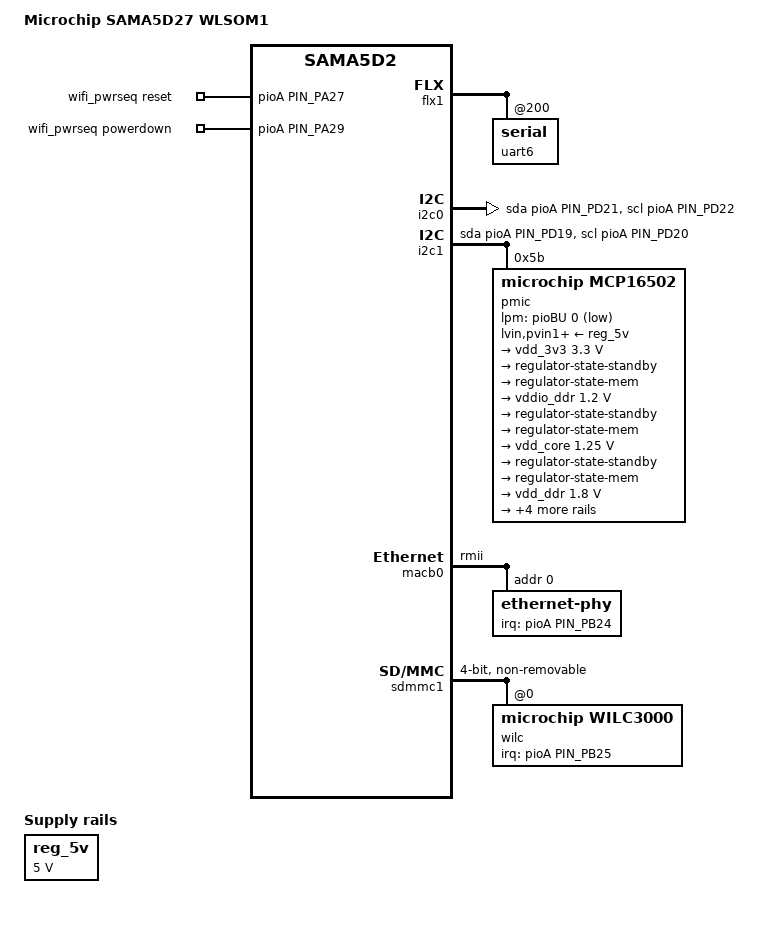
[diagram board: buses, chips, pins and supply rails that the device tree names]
// SPDX-License-Identifier: (GPL-2.0+ OR MIT)
/*
 * at91-sama5d27_wlsom1.dtsi - Device Tree file for SAMA5D27 WLSOM1
 *
 * Copyright (C) 2019 Microchip Technology Inc. and its subsidiaries
 *
 * Author: Nicolas Ferre <nicolas.ferre@microcihp.com>
 * Author: Eugen Hristev <eugen.hristev@microcihp.com>
 */
#include "sama5d2.dtsi"
#include "sama5d2-pinfunc.h"
#include <dt-bindings/gpio/gpio.h>
#include <dt-bindings/mfd/atmel-flexcom.h>
#include <dt-bindings/pinctrl/at91.h>

/ {
	model = "Microchip SAMA5D27 WLSOM1";
	compatible = "microchip,sama5d27-wlsom1", "atmel,sama5d27", "atmel,sama5d2", "atmel,sama5";

	aliases {
		i2c0 = &i2c0;
	};

	clocks {
		slow_xtal {
			clock-frequency = <32768>;
		};

		main_xtal {
			clock-frequency = <24000000>;
		};
	};

	reg_5v: regulator-5v {
		compatible = "regulator-fixed";
		regulator-name = "VDD_MAIN";
		regulator-min-microvolt = <5000000>;
		regulator-max-microvolt = <5000000>;
		regulator-always-on;
	};

	wifi_pwrseq: wifi_pwrseq {
		compatible = "mmc-pwrseq-wilc1000";
		reset-gpios = <&pioA PIN_PA27 GPIO_ACTIVE_HIGH>;
		powerdown-gpios = <&pioA PIN_PA29 GPIO_ACTIVE_HIGH>;
		pinctrl-0 = <&pinctrl_wilc_pwrseq>;
		pinctrl-names = "default";
	};
};

&flx1 {
	atmel,flexcom-mode = <ATMEL_FLEXCOM_MODE_USART>;

	uart6: serial@200 {
		pinctrl-0 = <&pinctrl_flx1_default>;
		pinctrl-names = "default";
	};
};

&i2c0 {
	pinctrl-0 = <&pinctrl_i2c0_default>;
	pinctrl-1 = <&pinctrl_i2c0_gpio>;
	pinctrl-names = "default", "gpio";
	sda-gpios = <&pioA PIN_PD21 GPIO_ACTIVE_HIGH>;
	scl-gpios = <&pioA PIN_PD22 (GPIO_ACTIVE_HIGH | GPIO_OPEN_DRAIN)>;
	status = "okay";
};

&i2c1 {
	dmas = <0>, <0>;
	pinctrl-names = "default", "gpio";
	pinctrl-0 = <&pinctrl_i2c1_default>;
	pinctrl-1 = <&pinctrl_i2c1_gpio>;
	sda-gpios = <&pioA PIN_PD19 GPIO_ACTIVE_HIGH>;
	scl-gpios = <&pioA PIN_PD20 (GPIO_ACTIVE_HIGH | GPIO_OPEN_DRAIN)>;
	status = "okay";

	pmic@5b {
		compatible = "microchip,mcp16502";
		reg = <0x5b>;
		lvin-supply = <&reg_5v>;
		pvin1-supply = <&reg_5v>;
		pvin2-supply = <&reg_5v>;
		pvin3-supply = <&reg_5v>;
		pvin4-supply = <&reg_5v>;
		status = "okay";
		lpm-gpios = <&pioBU 0 GPIO_ACTIVE_LOW>;

		regulators {
			vdd_3v3: VDD_IO {
				regulator-name = "VDD_IO";
				regulator-min-microvolt = <3300000>;
				regulator-max-microvolt = <3300000>;
				regulator-initial-mode = <2>;
				regulator-allowed-modes = <2>, <4>;
				regulator-always-on;

				regulator-state-standby {
					regulator-on-in-suspend;
					regulator-mode = <4>;
				};

				regulator-state-mem {
					regulator-off-in-suspend;
					regulator-mode = <4>;
				};
			};

			vddio_ddr: VDD_DDR {
				regulator-name = "VDD_DDR";
				regulator-min-microvolt = <1200000>;
				regulator-max-microvolt = <1200000>;
				regulator-initial-mode = <2>;
				regulator-allowed-modes = <2>, <4>;
				regulator-always-on;

				regulator-state-standby {
					regulator-on-in-suspend;
					regulator-suspend-microvolt = <1200000>;
					regulator-changeable-in-suspend;
					regulator-mode = <4>;
				};

				regulator-state-mem {
					regulator-on-in-suspend;
					regulator-suspend-microvolt = <1200000>;
					regulator-changeable-in-suspend;
					regulator-mode = <4>;
				};
			};

			vdd_core: VDD_CORE {
				regulator-name = "VDD_CORE";
				regulator-min-microvolt = <1250000>;
				regulator-max-microvolt = <1250000>;
				regulator-initial-mode = <2>;
				regulator-allowed-modes = <2>, <4>;
				regulator-always-on;

				regulator-state-standby {
					regulator-on-in-suspend;
					regulator-mode = <4>;
				};

				regulator-state-mem {
					regulator-off-in-suspend;
					regulator-mode = <4>;
				};
			};

			vdd_ddr: VDD_OTHER {
				regulator-name = "VDD_OTHER";
				regulator-min-microvolt = <1800000>;
				regulator-max-microvolt = <1800000>;
				regulator-initial-mode = <2>;
				regulator-allowed-modes = <2>, <4>;
				regulator-always-on;

				regulator-state-standby {
					regulator-on-in-suspend;
					regulator-suspend-microvolt = <1800000>;
					regulator-changeable-in-suspend;
					regulator-mode = <4>;
				};

				regulator-state-mem {
					regulator-on-in-suspend;
					regulator-suspend-microvolt = <1800000>;
					regulator-changeable-in-suspend;
					regulator-mode = <4>;
				};
			};

			LDO1 {
				regulator-name = "LDO1";
				regulator-min-microvolt = <3300000>;
				regulator-max-microvolt = <3300000>;
				regulator-always-on;

				regulator-state-standby {
					regulator-on-in-suspend;
				};

				regulator-state-mem {
					regulator-off-in-suspend;
				};
			};

			LDO2 {
				regulator-name = "LDO2";
				regulator-min-microvolt = <1800000>;
				regulator-max-microvolt = <3300000>;

				regulator-state-standby {
					regulator-on-in-suspend;
				};

				regulator-state-mem {
					regulator-off-in-suspend;
				};
			};
		};
	};
};

&macb0 {
	pinctrl-names = "default";
	pinctrl-0 = <&pinctrl_macb0_default>;
	#address-cells = <1>;
	#size-cells = <0>;
	phy-mode = "rmii";

	ethernet-phy@0 {
		reg = <0x0>;
		interrupt-parent = <&pioA>;
		interrupts = <PIN_PB24 IRQ_TYPE_LEVEL_LOW>;
		pinctrl-names = "default";
		pinctrl-0 = <&pinctrl_macb0_phy_irq>;
	};
};

&pmc {
	atmel,osc-bypass;
};

&qspi1 {
	pinctrl-names = "default";
	pinctrl-0 = <&pinctrl_qspi1_default>;
	status = "disabled";

	qspi1_flash: flash@0 {
		#address-cells = <1>;
		#size-cells = <1>;
		compatible = "jedec,spi-nor";
		reg = <0>;
		spi-max-frequency = <104000000>;
		spi-cs-setup-delay-ns = <7>;
		spi-rx-bus-width = <4>;
		spi-tx-bus-width = <4>;
		m25p,fast-read;
		status = "disabled";

		at91bootstrap@0 {
			label = "at91bootstrap";
			reg = <0x0 0x40000>;
		};

		bootloader@40000 {
			label = "bootloader";
			reg = <0x40000 0xc0000>;
		};

		bootloaderenvred@100000 {
			label = "bootloader env redundant";
			reg = <0x100000 0x40000>;
		};

		bootloaderenv@140000 {
			label = "bootloader env";
			reg = <0x140000 0x40000>;
		};

		dtb@180000 {
			label = "device tree";
			reg = <0x180000 0x80000>;
		};

		kernel@200000 {
			label = "kernel";
			reg = <0x200000 0x600000>;
		};
	};
};

&pioA {
	pinctrl_flx1_default: flx1_usart_default {
		pinmux = <PIN_PA24__FLEXCOM1_IO0>,
			 <PIN_PA23__FLEXCOM1_IO1>,
			 <PIN_PA25__FLEXCOM1_IO3>,
			 <PIN_PA26__FLEXCOM1_IO4>;
		bias-disable;
	};

	pinctrl_i2c0_default: i2c0_default {
		pinmux = <PIN_PD21__TWD0>,
			 <PIN_PD22__TWCK0>;
		bias-disable;
	};

	pinctrl_i2c0_gpio: i2c0_gpio {
		pinmux = <PIN_PD21__GPIO>,
			 <PIN_PD22__GPIO>;
		bias-disable;
	};

	pinctrl_i2c1_default: i2c1_default {
		pinmux = <PIN_PD19__TWD1>,
			 <PIN_PD20__TWCK1>;
		bias-disable;
	};

	pinctrl_i2c1_gpio: i2c1_gpio {
		pinmux = <PIN_PD19__GPIO>,
			 <PIN_PD20__GPIO>;
		bias-disable;
	};

	pinctrl_macb0_default: macb0_default {
		pinmux = <PIN_PB14__GTXCK>,
			 <PIN_PB15__GTXEN>,
			 <PIN_PB16__GRXDV>,
			 <PIN_PB17__GRXER>,
			 <PIN_PB18__GRX0>,
			 <PIN_PB19__GRX1>,
			 <PIN_PB20__GTX0>,
			 <PIN_PB21__GTX1>,
			 <PIN_PB22__GMDC>,
			 <PIN_PB23__GMDIO>;
		bias-disable;
	};

	pinctrl_macb0_phy_irq: macb0_phy_irq {
		pinmux = <PIN_PB24__GPIO>;
		bias-disable;
	};

	pinctrl_qspi1_default: qspi1_default {
		pinmux = <PIN_PB5__QSPI1_SCK>,
			 <PIN_PB6__QSPI1_CS>,
			 <PIN_PB7__QSPI1_IO0>,
			 <PIN_PB8__QSPI1_IO1>,
			 <PIN_PB9__QSPI1_IO2>,
			 <PIN_PB10__QSPI1_IO3>;
		bias-pull-up;
	};

	pinctrl_sdmmc1_default: sdmmc1_default {
		cmd-data {
			pinmux = <PIN_PA28__SDMMC1_CMD>,
				 <PIN_PA18__SDMMC1_DAT0>,
				 <PIN_PA19__SDMMC1_DAT1>,
				 <PIN_PA20__SDMMC1_DAT2>,
				 <PIN_PA21__SDMMC1_DAT3>;
			bias-disable;
		};

		conf-ck {
			pinmux = <PIN_PA22__SDMMC1_CK>;
			bias-disable;
		};
	};

	pinctrl_wilc_default: wilc_default {
		conf-irq {
			pinmux = <PIN_PB25__GPIO>;
			bias-disable;
		};
	};

	pinctrl_wilc_pwrseq: wilc_pwrseq {
		conf-ce-nrst {
			pinmux = <PIN_PA27__GPIO>,
				 <PIN_PA29__GPIO>;
			bias-disable;
		};

		conf-rtcclk {
			pinmux = <PIN_PB13__PCK1>;
			bias-disable;
		};
	};
};

&sdmmc1 {
	#address-cells = <1>;
	#size-cells = <0>;
	bus-width = <4>;
	pinctrl-names = "default";
	pinctrl-0 = <&pinctrl_sdmmc1_default>;
	mmc-pwrseq = <&wifi_pwrseq>;
	no-1-8-v;
	non-removable;
	bus-width = <4>;
	status = "okay";

	wilc: wifi@0 {
		reg = <0>;
		compatible = "microchip,wilc3000", "microchip,wilc1000";
		pinctrl-names = "default";
		pinctrl-0 = <&pinctrl_wilc_default>;
		clocks = <&pmc PMC_TYPE_SYSTEM 9>;
		clock-names = "rtc";
		interrupts = <PIN_PB25 IRQ_TYPE_NONE>;
		interrupt-parent = <&pioA>;
		assigned-clocks = <&pmc PMC_TYPE_SYSTEM 9>;
		assigned-clock-rates = <32768>;
	};
};

